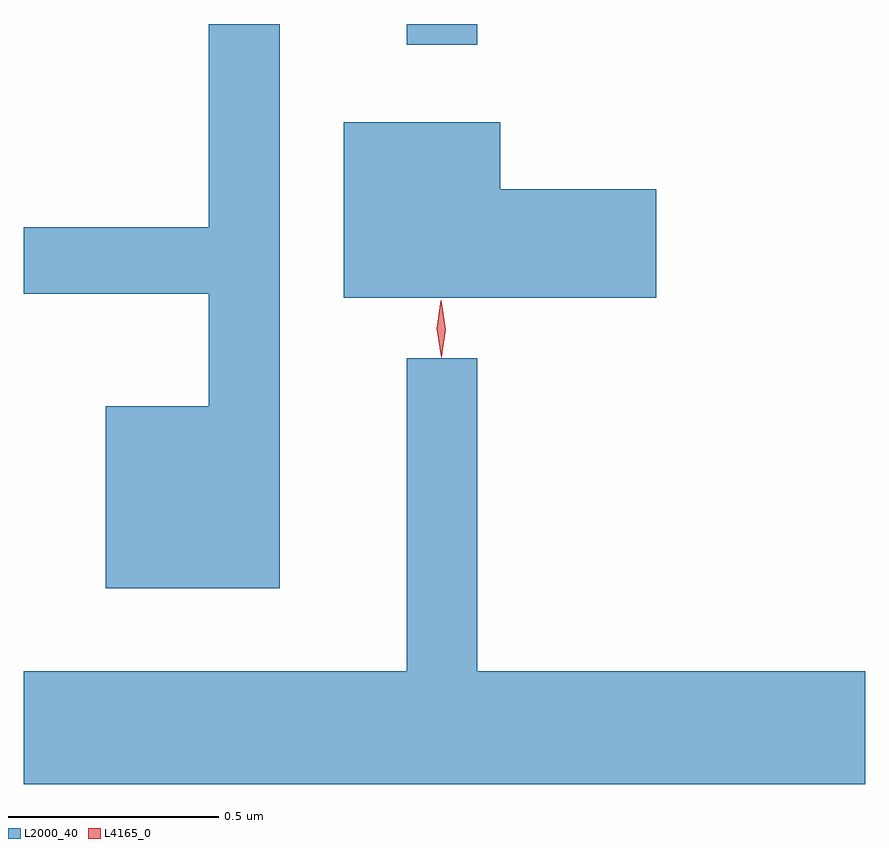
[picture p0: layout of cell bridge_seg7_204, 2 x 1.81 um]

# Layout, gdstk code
import gdstk
lib = gdstk.Library(unit=1e-6, precision=1e-09)
def R(c, l, rs):  # rectangles x0, y0, x1, y1
    for r in rs: c.add(gdstk.rectangle(r[:2], r[2:], *l))
def P(c, l, *ps):  # polygons
    for p in ps: c.add(gdstk.Polygon(p, *l))
L2000_40 = (2000, 40)
L4165_0 = (4165, 0)

bridge_seg7_204 = lib.new_cell('bridge_seg7_204')
R(bridge_seg7_204, L2000_40, [(1530.621,1689.433,1530.789,1689.482)])
P(bridge_seg7_204, L2000_40, [(1530.319,1689.482),(1530.151,1689.482),(1530.151,1688.999),(1529.711,1688.999),(1529.711,1688.841),(1530.151,1688.841),(1530.151,1688.574),(1529.906,1688.574),(1529.906,1688.141),(1530.319,1688.141)],
  [(1531.214,1689.089),(1530.844,1689.089),(1530.844,1689.249),(1530.471,1689.249),(1530.471,1688.831),(1531.214,1688.831)],
  [(1531.711,1687.944),(1530.789,1687.944),(1530.789,1688.688),(1530.621,1688.688),(1530.621,1687.944),(1529.711,1687.944),(1529.711,1687.676),(1531.711,1687.676)])
P(bridge_seg7_204, L4165_0, [(1530.704,1688.693),(1530.703,1688.694),(1530.694,1688.756),(1530.703,1688.819),(1530.703,1688.82),(1530.704,1688.819),(1530.714,1688.756),(1530.704,1688.694)],
  [(1530.703,1688.69),(1530.693,1688.758),(1530.702,1688.826),(1530.702,1688.826),(1530.703,1688.826),(1530.713,1688.758),(1530.704,1688.69),(1530.704,1688.69)])

lib.write_gds('bridge_seg7_204.gds')
